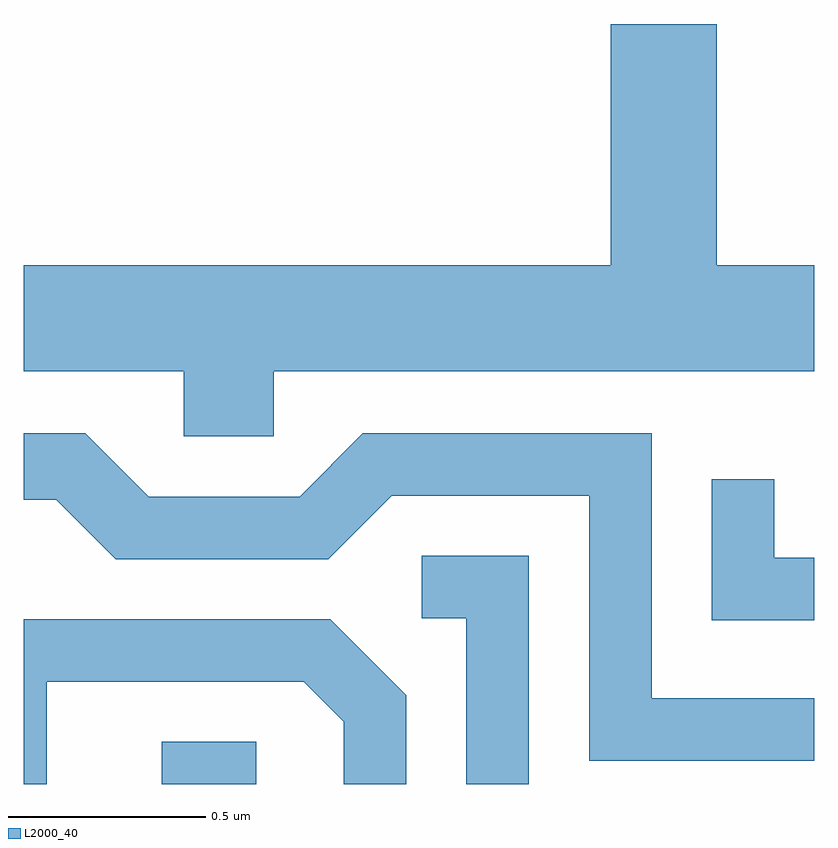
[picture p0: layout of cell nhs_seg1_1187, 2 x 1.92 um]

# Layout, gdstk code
import gdstk
lib = gdstk.Library(unit=1e-6, precision=1e-09)
def R(c, l, rs):  # rectangles x0, y0, x1, y1
    for r in rs: c.add(gdstk.rectangle(r[:2], r[2:], *l))
def P(c, l, *ps):  # polygons
    for p in ps: c.add(gdstk.Polygon(p, *l))
L2000_40 = (2000, 40)

nhs_seg1_1187 = lib.new_cell('nhs_seg1_1187')
R(nhs_seg1_1187, L2000_40, [(193.961,940.712,194.199,940.819)])
P(nhs_seg1_1187, L2000_40, [(194.244,941.756),(195.611,941.756),(195.611,942.024),(195.364,942.024),(195.364,942.634),(195.096,942.634),(195.096,942.024),(193.611,942.024),(193.611,941.756),(194.016,941.756),(194.016,941.591),(194.244,941.591)],
  [(195.611,940.929),(195.199,940.929),(195.199,941.599),(194.469,941.599),(194.309,941.439),(193.927,941.439),(193.767,941.599),(193.611,941.599),(193.611,941.431),(193.694,941.431),(193.844,941.281),(194.382,941.281),(194.542,941.441),(195.041,941.441),(195.041,940.771),(195.611,940.771)],
  [(195.611,941.284),(195.509,941.284),(195.509,941.483),(195.351,941.483),(195.351,941.126),(195.611,941.126)],
  [(194.889,941.289),(194.618,941.289),(194.618,941.131),(194.731,941.131),(194.731,940.712),(194.889,940.712)],
  [(193.669,940.971),(194.319,940.971),(194.421,940.869),(194.421,940.712),(194.579,940.712),(194.579,940.937),(194.387,941.129),(193.611,941.129),(193.611,940.712),(193.669,940.712)])

lib.write_gds('nhs_seg1_1187.gds')
